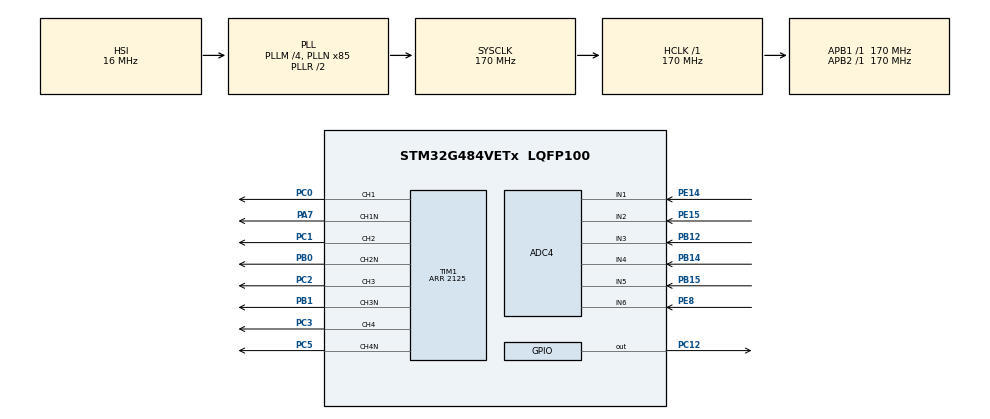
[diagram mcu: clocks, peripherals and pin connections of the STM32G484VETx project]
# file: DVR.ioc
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ADC4.Channel-0\#ChannelRegularConversion=ADC_CHANNEL_5
ADC4.Channel-1\#ChannelRegularConversion=ADC_CHANNEL_3
ADC4.Channel-2\#ChannelRegularConversion=ADC_CHANNEL_1
ADC4.DMAContinuousRequests=ENABLE
ADC4.ExternalTrigConv=ADC_EXTERNALTRIG_T6_TRGO
ADC4.NbrOfConversion=3
ADC4.NbrOfConversionFlag=1
ADC4.OffsetNumber-0\#ChannelRegularConversion=ADC_OFFSET_NONE
ADC4.OffsetNumber-1\#ChannelRegularConversion=ADC_OFFSET_NONE
ADC4.OffsetNumber-2\#ChannelRegularConversion=ADC_OFFSET_NONE
ADC4.Rank-0\#ChannelRegularConversion=1
ADC4.Rank-1\#ChannelRegularConversion=2
ADC4.Rank-2\#ChannelRegularConversion=3
ADC4.SamplingTime-0\#ChannelRegularConversion=ADC_SAMPLETIME_640CYCLES_5
ADC4.SamplingTime-1\#ChannelRegularConversion=ADC_SAMPLETIME_47CYCLES_5
ADC4.SamplingTime-2\#ChannelRegularConversion=ADC_SAMPLETIME_47CYCLES_5
ADC4.SingleDiff-0\#ChannelRegularConversion=ADC_DIFFERENTIAL_ENDED
ADC4.SingleDiff-1\#ChannelRegularConversion=ADC_DIFFERENTIAL_ENDED
ADC4.SingleDiff-2\#ChannelRegularConversion=ADC_DIFFERENTIAL_ENDED
Dma.ADC4.0.Direction=DMA_PERIPH_TO_MEMORY
Dma.ADC4.0.EventEnable=DISABLE
Dma.ADC4.0.Instance=DMA1_Channel1
Dma.ADC4.0.MemDataAlignment=DMA_MDATAALIGN_HALFWORD
Dma.ADC4.0.MemInc=DMA_MINC_ENABLE
Dma.ADC4.0.Mode=DMA_CIRCULAR
Dma.ADC4.0.PeriphDataAlignment=DMA_PDATAALIGN_HALFWORD
Dma.ADC4.0.PeriphInc=DMA_PINC_DISABLE
Dma.ADC4.0.Polarity=HAL_DMAMUX_REQ_GEN_RISING
Dma.ADC4.0.Priority=DMA_PRIORITY_LOW
Dma.ADC4.0.RequestNumber=1
Dma.ADC4.0.SignalID=NONE
Dma.ADC4.0.SyncEnable=DISABLE
Dma.ADC4.0.SyncPolarity=HAL_DMAMUX_SYNC_NO_EVENT
Dma.ADC4.0.SyncRequestNumber=1
Dma.ADC4.0.SyncSignalID=NONE
Dma.Request0=ADC4
Mcu.Family=STM32G4
Mcu.Name=STM32G484VETx
Mcu.Package=LQFP100
NVIC.DMA1_Channel1_IRQn=true\:0\:0\:false\:false\:true\:false\:true\:true
NVIC.PriorityGroup=NVIC_PRIORITYGROUP_4
NVIC.TIM6_DAC_IRQn=true\:0\:0\:false\:false\:true\:true\:true\:true
NVIC.TIM7_DAC_IRQn=true\:0\:0\:false\:false\:true\:true\:true\:true
PA13.Mode=Serial_Wire
PA13.Signal=SYS_JTMS-SWDIO
PA14.Mode=Serial_Wire
PA14.Signal=SYS_JTCK-SWCLK
PA7.Mode=PWM Generation1 CH1 CH1N
PA7.Signal=TIM1_CH1N
PB0.Mode=PWM Generation2 CH2 CH2N
PB0.Signal=TIM1_CH2N
PB1.Mode=PWM Generation3 CH3 CH3N
PB1.Signal=TIM1_CH3N
PB12.Mode=IN3-Differential
PB12.Signal=ADC4_IN3
PB14.Mode=IN3-Differential
PB14.Signal=ADC4_IN4
PB15.Mode=IN5-Differential
PB15.Signal=ADC4_IN5
PC0.Signal=S_TIM1_CH1
PC1.Signal=S_TIM1_CH2
PC12.Signal=GPIO_Output
PC2.Signal=S_TIM1_CH3
PC3.Signal=S_TIM1_CH4
PC5.Mode=PWM Generation4 CH4 CH4N
PC5.Signal=TIM1_CH4N
PE14.Mode=IN1-Differential
PE14.Signal=ADC4_IN1
PE15.Mode=IN1-Differential
PE15.Signal=ADC4_IN2
PE8.Mode=IN5-Differential
PE8.Signal=ADC4_IN6
PF0-OSC_IN.Mode=HSE-External-Oscillator
PF0-OSC_IN.Signal=RCC_OSC_IN
PF1-OSC_OUT.Mode=HSE-External-Oscillator
PF1-OSC_OUT.Signal=RCC_OSC_OUT
ProjectManager.HeapSize=0x200
ProjectManager.StackSize=0x400
ProjectManager.TargetToolchain=MDK-ARM V5.32
RCC.ADC12Freq_Value=170000000
RCC.ADC345Freq_Value=170000000
RCC.AHBFreq_Value=170000000
RCC.APB1Freq_Value=170000000
RCC.APB1TimFreq_Value=170000000
RCC.APB2Freq_Value=170000000
RCC.APB2TimFreq_Value=170000000
RCC.CortexFreq_Value=170000000
RCC.EXTERNAL_CLOCK_VALUE=12288000
RCC.HCLKFreq_Value=170000000
RCC.HSE_VALUE=16000000
RCC.HSI48_VALUE=48000000
RCC.HSI_VALUE=16000000
RCC.LSE_VALUE=32768
RCC.PLLM=RCC_PLLM_DIV4
RCC.PLLN=85
RCC.SYSCLKFreq_VALUE=170000000
RCC.SYSCLKSource=RCC_SYSCLKSOURCE_PLLCLK
RCC.USBFreq_Value=170000000
RCC.VCOOutputFreq_Value=340000000
SH.S_TIM1_CH1.0=TIM1_CH1,PWM Generation1 CH1 CH1N
SH.S_TIM1_CH2.0=TIM1_CH2,PWM Generation2 CH2 CH2N
SH.S_TIM1_CH3.0=TIM1_CH3,PWM Generation3 CH3 CH3N
SH.S_TIM1_CH4.0=TIM1_CH4,PWM Generation4 CH4 CH4N
TIM1.AutoReloadPreload=TIM_AUTORELOAD_PRELOAD_ENABLE
TIM1.Channel-PWM\ Generation1\ CH1\ CH1N=TIM_CHANNEL_1
TIM1.Channel-PWM\ Generation2\ CH2\ CH2N=TIM_CHANNEL_2
TIM1.Channel-PWM\ Generation3\ CH3\ CH3N=TIM_CHANNEL_3
TIM1.Channel-PWM\ Generation4\ CH4\ CH4N=TIM_CHANNEL_4
TIM1.CounterMode=TIM_COUNTERMODE_CENTERALIGNED1
TIM1.DeadTime=106
TIM1.PeriodNoDither=2125
TIM6.PeriodNoDither=49
TIM6.Prescaler=169
TIM6.TIM_MasterOutputTrigger=TIM_TRGO_UPDATE
TIM7.PeriodNoDither=499
TIM7.Prescaler=169
VP_SYS_VS_DBSignals.Mode=DisableDeadBatterySignals
VP_TIM1_VS_ClockSourceINT.Mode=Internal
VP_TIM6_VS_ClockSourceINT.Mode=Enable_Timer
VP_TIM7_VS_ClockSourceINT.Mode=Enable_Timer
board=custom

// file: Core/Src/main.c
/* USER CODE BEGIN Header */
/**
  ******************************************************************************
  * @file           : main.c
  * @brief          : Main program body
  ******************************************************************************
  * @attention
  *
  * Copyright (c) 2026 STMicroelectronics.
  * All rights reserved.
  *
  * This software is licensed under terms that can be found in the LICENSE file
  * in the root directory of this software component.
  * If no LICENSE file comes with this software, it is provided AS-IS.
  *
  ******************************************************************************
  */
/* USER CODE END Header */
#include "main.h"
#include "adc.h"
#include "dma.h"
#include "tim.h"
#include "gpio.h"

/* USER CODE BEGIN Includes */

#include <stdint.h>
#include <stdbool.h>
#include <math.h>
#include "sogi.h"
#include "pwm_3leg_sine.h"
#include "dynvolt_predictor.h"
/* USER CODE END Includes */

/* USER CODE BEGIN PTD */

typedef struct
{
    float u;
    float v;
    float w;
} Phase3f;

typedef enum
{
    REF_MODE_SOGI_FILTERED = 0,
    REF_MODE_PLL_CLEAN     = 1
} ReferenceMode_t;

typedef enum
{
    PWM_MODE_MEASURED_DIRECT     = 0,
    PWM_MODE_REFERENCE_DIRECT    = 1,
    PWM_MODE_INJECTION_DIRECT    = 2,
    PWM_MODE_INJECTION_PREDICTOR = 3
} PwmMode_t;
/* USER CODE END PTD */

/* USER CODE BEGIN PD */
#define Version                         "0.0.8"

/* Basic math constants */
#define PI_F                            3.1415926f
#define TWO_PI_F                        (2.0f * PI_F)
#define TWO_PI_OVER_3                   (2.0f * PI_F / 3.0f)
#define SQRT3_OVER_2                    0.8660254f

/* ADC and voltage sensor scaling */
#define ADC_BUF_LEN                     3u
#define ADC_VREF                        3.3f
#define ADC_MAX_VALUE                   4095.0f
#define AMC_GAIN                        0.4f
#define RESISTOR_RATIO                  100.6f

/* ADC buffer order: U, V, W. Do not swap phases anywhere else. */
#define DVR_ADC_HW_U_INDEX              0u
#define DVR_ADC_HW_V_INDEX              1u
#define DVR_ADC_HW_W_INDEX              2u

#define DVR_LOGICAL_U_ADC_INDEX         DVR_ADC_HW_U_INDEX
#define DVR_LOGICAL_V_ADC_INDEX         DVR_ADC_HW_V_INDEX
#define DVR_LOGICAL_W_ADC_INDEX         DVR_ADC_HW_W_INDEX

/* Fast control loop: 20 kHz = 50 us */
#define CONTROL_RATE_HZ                 20000.0f
#define CONTROL_TS_SEC                  (1.0f / CONTROL_RATE_HZ)
#define CONTROL_TS_US                   (1000000.0f / CONTROL_RATE_HZ)
#define CONTROL_OVERRUN_LIMIT_US        45.0f

/* Predictor loop: 2 kHz = 0.5 ms */
#define PREDICTOR_RATE_HZ               2000.0f
#define PREDICTOR_TS_SEC                (1.0f / PREDICTOR_RATE_HZ)
#define PREDICTOR_OVERRUN_LIMIT_US      350.0f

/* Artificial error delay used for tests */
#define ERROR_DELAY_MS_DEFAULT          5.0f
#define ERROR_DELAY_BUFFER_LEN          2000u
#define ERROR_DELAY_SAMPLES_MAX         (ERROR_DELAY_BUFFER_LEN - 1u)
#define ERROR_DELAY_MS_MAX              (((float)ERROR_DELAY_SAMPLES_MAX * CONTROL_TS_US) / 1000.0f)

/* Predictor horizon */
#define PREDICTOR_HORIZON_MS_DEFAULT    5.00f
#define PREDICTOR_HORIZON_MS_MIN        0.0f

/* Helper values for manual delay tuning from Watch */
#define TOTAL_DELAY_TARGET_MS_DEFAULT   1.00f
#define PREDICTOR_CALC_DELAY_MS_DEFAULT 0.21f
/* USER CODE END PD */

/* USER CODE BEGIN PV */
/* -------------------------------------------------------------------------
 * Main control objects
 * ------------------------------------------------------------------------- */
static PWM_3Leg_Handle g_pwm_3leg;
static PWM_3Leg_Config g_pwm_3leg_cfg;
static PWM_3Leg_Debug  g_pwm_3leg_dbg;

static DynVoltPredictor3P g_predictor;
static DynVoltPredictor3P_Config g_predictor_cfg;

/* ADC DMA buffer: adc_buf[0]=U, adc_buf[1]=V, adc_buf[2]=W */
volatile uint16_t adc_buf[ADC_BUF_LEN];

/* -------------------------------------------------------------------------
 * Watch variables: mapping and modes
 * ------------------------------------------------------------------------- */
volatile uint32_t g_adc_map_u_index = DVR_LOGICAL_U_ADC_INDEX;
volatile uint32_t g_adc_map_v_index = DVR_LOGICAL_V_ADC_INDEX;
volatile uint32_t g_adc_map_w_index = DVR_LOGICAL_W_ADC_INDEX;

/* g_reference_mode: 0=SOGI reference, 1=PLL clean sine reference
 * g_output_mode:    0=measured, 1=reference, 2=direct injection, 3=predictor
 */
volatile int g_reference_mode = REF_MODE_PLL_CLEAN;
volatile int g_output_mode = PWM_MODE_INJECTION_PREDICTOR;
volatile uint8_t g_pwm_output_enabled = 1u;

static int g_last_output_mode = -1;
volatile uint32_t g_invalid_output_mode_count = 0u;

/* Output scaling. These values are kept equal to the working direct-injection version. */
volatile float g_clean_reference_phase_peak_volts = 325.0f;
volatile float g_pwm_reference_gain = 1.0f;
volatile float Transformer_Ratio = 9.58f;
volatile float g_direct_output_sign = 1.0f;
volatile float g_injection_output_sign = -1.0f;

/* -------------------------------------------------------------------------
 * Artificial error delay
 * ------------------------------------------------------------------------- */
volatile float g_error_delay_ms_request = ERROR_DELAY_MS_DEFAULT;
volatile float g_error_delay_ms_active = ERROR_DELAY_MS_DEFAULT;
volatile uint32_t g_error_delay_samples_active = 0u;
volatile uint8_t g_error_delay_limited = 0u;
volatile uint32_t g_error_delay_reconfigure_count = 0u;
volatile uint8_t g_error_delay_ready = 0u;
volatile uint32_t g_error_delay_sample_count = 0u;

static float g_error_delay_ms_request_last = -1.0f;
static float g_err_delay_buf_u[ERROR_DELAY_BUFFER_LEN];
static float g_err_delay_buf_v[ERROR_DELAY_BUFFER_LEN];
static float g_err_delay_buf_w[ERROR_DELAY_BUFFER_LEN];
static uint32_t g_err_delay_index = 0u;
static uint8_t g_error_delay_primed = 0u;

/* Optional helper only. It does not change the active delay automatically. */
volatile float g_total_delay_target_ms = TOTAL_DELAY_TARGET_MS_DEFAULT;
volatile float g_predictor_calc_delay_assumed_ms = PREDICTOR_CALC_DELAY_MS_DEFAULT;
volatile float g_error_delay_suggested_ms = ERROR_DELAY_MS_DEFAULT;
volatile uint32_t g_error_delay_suggested_samples = 0u;

/* -------------------------------------------------------------------------
 * Predictor settings and monitor variables
 * ------------------------------------------------------------------------- */
volatile float g_predictor_horizon_ms_request = PREDICTOR_HORIZON_MS_DEFAULT;
volatile float g_predictor_horizon_ms_active = PREDICTOR_HORIZON_MS_DEFAULT;
volatile uint32_t g_predictor_reconfigure_count = 0u;
static float g_predictor_horizon_ms_request_last = -1.0f;

volatile float g_pred_input_err_u = 0.0f;
volatile float g_pred_input_err_v = 0.0f;
volatile float g_pred_input_err_w = 0.0f;

volatile float g_pred_input_err_filt_u = 0.0f;
volatile float g_pred_input_err_filt_v = 0.0f;
volatile float g_pred_input_err_filt_w = 0.0f;
volatile uint8_t g_predictor_error_filter_primed = 0u;

volatile float g_pred_err_u = 0.0f;
volatile float g_pred_err_v = 0.0f;
volatile float g_pred_err_w = 0.0f;

volatile float g_pred_inj_u = 0.0f;
volatile float g_pred_inj_v = 0.0f;
volatile float g_pred_inj_w = 0.0f;

volatile float g_predictor_flicker_score = 0.0f;
volatile float g_predictor_alpha = 0.0f;
volatile uint8_t g_predictor_active = 0u;
volatile uint8_t g_predictor_saturated = 0u;

volatile uint8_t g_predictor_run_request = 0u;
volatile uint8_t g_predictor_is_running = 0u;
volatile uint32_t g_predictor_tick_count = 0u;
volatile uint32_t g_predictor_missed_count = 0u;

/* -------------------------------------------------------------------------
 * Signal monitor variables
 * ------------------------------------------------------------------------- */
volatile uint16_t g_adc_raw_u = 0u;
volatile uint16_t g_adc_raw_v = 0u;
volatile uint16_t g_adc_raw_w = 0u;

volatile float g_meas_u = 0.0f;
volatile float g_meas_v = 0.0f;
volatile float g_meas_w = 0.0f;

volatile float g_sogi_u_alpha = 0.0f;
volatile float g_sogi_u_beta  = 0.0f;
volatile float g_sogi_v_alpha = 0.0f;
volatile float g_sogi_v_beta  = 0.0f;
volatile float g_sogi_w_alpha = 0.0f;
volatile float g_sogi_w_beta  = 0.0f;

volatile float g_pll_theta = 0.0f;
volatile float g_pll_freq_hz = 50.0f;
volatile float g_pll_error = 0.0f;

volatile float g_ref_u = 0.0f;
volatile float g_ref_v = 0.0f;
volatile float g_ref_w = 0.0f;

volatile float g_err_u = 0.0f;
volatile float g_err_v = 0.0f;
volatile float g_err_w = 0.0f;

volatile float g_err_delay_u = 0.0f;
volatile float g_err_delay_v = 0.0f;
volatile float g_err_delay_w = 0.0f;

volatile float g_inj_u = 0.0f;
volatile float g_inj_v = 0.0f;
volatile float g_inj_w = 0.0f;

volatile float g_pwm_u = 0.0f;
volatile float g_pwm_v = 0.0f;
volatile float g_pwm_w = 0.0f;

/* -------------------------------------------------------------------------
 * SOGI and PLL internal states
 * ------------------------------------------------------------------------- */
static SOGI_Config sogi_cfg;
static SOGI_State sogi_u_state;
static SOGI_State sogi_v_state;
static SOGI_State sogi_w_state;

static float pll_ts = CONTROL_TS_SEC;
static float pll_kp = 80.0f;
static float pll_ki = 2000.0f;
static float pll_integrator = 0.0f;
static float pll_omega = TWO_PI_F * 50.0f;
static float pll_omega_nominal = TWO_PI_F * 50.0f;

/* -------------------------------------------------------------------------
 * Timing monitor variables
 * ------------------------------------------------------------------------- */
volatile uint32_t g_control_cycles = 0u;
volatile uint32_t g_control_cycles_max = 0u;
volatile float g_control_time_us = 0.0f;
volatile uint8_t g_control_timing_overrun = 0u;

volatile uint32_t g_predictor_cycles = 0u;
volatile uint32_t g_predictor_cycles_max = 0u;
volatile float g_predictor_time_us = 0.0f;
volatile uint8_t g_predictor_timing_overrun = 0u;
/* USER CODE END PV */

void SystemClock_Config(void);
/* USER CODE BEGIN PFP */

static void dvr_background_step(void);
static void dvr_control_step_20khz(void);
static void dvr_application_init(void);
/* USER CODE END PFP */

/* USER CODE BEGIN 0 */
/* -------------------------------------------------------------------------
 * Small utility functions
 * ------------------------------------------------------------------------- */
static float clampf(float x, float min_val, float max_val)
{
    if (x < min_val)
    {
        return min_val;
    }

    if (x > max_val)
    {
        return max_val;
    }

    return x;
}

static uint32_t clamp_u32(uint32_t x, uint32_t min_val, uint32_t max_val)
{
    if (x < min_val)
    {
        return min_val;
    }

    if (x > max_val)
    {
        return max_val;
    }

    return x;
}

static float cycles_to_us(uint32_t cycles)
{
    float cycles_per_us = ((float)SystemCoreClock) / 1000000.0f;

    if (cycles_per_us <= 0.0f)
    {
        return 0.0f;
    }

    return ((float)cycles) / cycles_per_us;
}

static float wrap_0_2pi(float angle_rad)
{
    while (angle_rad >= TWO_PI_F)
    {
        angle_rad -= TWO_PI_F;
    }

    while (angle_rad < 0.0f)
    {
        angle_rad += TWO_PI_F;
    }

    return angle_rad;
}

static uint32_t delay_ms_to_samples(float delay_ms)
{
    float delay_us;
    uint32_t samples;

    if (delay_ms <= 0.0f)
    {
        return 0u;
    }

    delay_us = delay_ms * 1000.0f;
    samples = (uint32_t)((delay_us / CONTROL_TS_US) + 0.5f);

    return clamp_u32(samples, 0u, ERROR_DELAY_SAMPLES_MAX);
}

static float delay_samples_to_ms(uint32_t delay_samples)
{
    return (((float)delay_samples * CONTROL_TS_US) / 1000.0f);
}

/* -------------------------------------------------------------------------
 * ADC measurement
 * ------------------------------------------------------------------------- */
static float adc_diff_to_volts(uint32_t adc_raw)
{
    float adc_diff_volts;
    float sensor_input_volts;

    adc_diff_volts = (((float)adc_raw / ADC_MAX_VALUE) * 2.0f * ADC_VREF) - ADC_VREF;
    sensor_input_volts = adc_diff_volts / AMC_GAIN;

    return sensor_input_volts * RESISTOR_RATIO;
}

static void read_adc_voltages(void)
{
    g_adc_raw_u = adc_buf[DVR_LOGICAL_U_ADC_INDEX];
    g_adc_raw_v = adc_buf[DVR_LOGICAL_V_ADC_INDEX];
    g_adc_raw_w = adc_buf[DVR_LOGICAL_W_ADC_INDEX];

    g_meas_u = adc_diff_to_volts(g_adc_raw_u);
    g_meas_v = adc_diff_to_volts(g_adc_raw_v);
    g_meas_w = adc_diff_to_volts(g_adc_raw_w);
}

/* -------------------------------------------------------------------------
 * SOGI and PLL reference generation
 * ------------------------------------------------------------------------- */
static void update_sogi(void)
{
    SOGI_Output out_u;
    SOGI_Output out_v;
    SOGI_Output out_w;

    SOGI_Step(&sogi_u_state, g_meas_u, &out_u);
    SOGI_Step(&sogi_v_state, g_meas_v, &out_v);
    SOGI_Step(&sogi_w_state, g_meas_w, &out_w);

    g_sogi_u_alpha = out_u.v_alpha;
    g_sogi_u_beta  = out_u.v_beta;

    g_sogi_v_alpha = out_v.v_alpha;
    g_sogi_v_beta  = out_v.v_beta;

    g_sogi_w_alpha = out_w.v_alpha;
    g_sogi_w_beta  = out_w.v_beta;
}

static void update_pll(void)
{
    float alpha;
    float beta;
    float error_volts;
    float cos_th;
    float sin_th;

    /* Clarke transform from filtered U/V/W to alpha/beta. */
    alpha = (2.0f / 3.0f) * (g_sogi_u_alpha - 0.5f * g_sogi_v_alpha - 0.5f * g_sogi_w_alpha);
    beta  = (2.0f / 3.0f) * (SQRT3_OVER_2 * (g_sogi_v_alpha - g_sogi_w_alpha));

    cos_th = cosf(g_pll_theta);
    sin_th = sinf(g_pll_theta);

    /* PLL q-axis error. The goal is to drive this value to zero. */
    error_volts = (beta * cos_th) - (alpha * sin_th);
    g_pll_error = -(error_volts / g_clean_reference_phase_peak_volts);

    pll_integrator += pll_ki * pll_ts * g_pll_error;
    pll_integrator = clampf(pll_integrator, -(TWO_PI_F * 10.0f), (TWO_PI_F * 10.0f));

    pll_omega = pll_omega_nominal + (pll_kp * g_pll_error) + pll_integrator;
    pll_omega = clampf(pll_omega,
                       pll_omega_nominal - (TWO_PI_F * 20.0f),
                       pll_omega_nominal + (TWO_PI_F * 20.0f));

    g_pll_theta += pll_omega * pll_ts;
    g_pll_theta = wrap_0_2pi(g_pll_theta);
    g_pll_freq_hz = pll_omega / TWO_PI_F;
}

static void build_reference_from_sogi(void)
{
    g_ref_u = g_sogi_u_alpha;
    g_ref_v = g_sogi_v_alpha;
    g_ref_w = g_sogi_w_alpha;
}

static void build_reference_from_pll(void)
{
    float phase_u_angle = g_pll_theta - (PI_F * 0.5f);

    g_ref_u = g_clean_reference_phase_peak_volts * sinf(phase_u_angle);
    g_ref_v = g_clean_reference_phase_peak_volts * sinf(phase_u_angle - TWO_PI_OVER_3);
    g_ref_w = g_clean_reference_phase_peak_volts * sinf(phase_u_angle + TWO_PI_OVER_3);
}

static void update_selected_reference(void)
{
    update_sogi();
    update_pll();

    if (g_reference_mode == REF_MODE_PLL_CLEAN)
    {
        build_reference_from_pll();
    }
    else
    {
        build_reference_from_sogi();
    }
}

/* -------------------------------------------------------------------------
 * Error, artificial delay, and direct injection
 * ------------------------------------------------------------------------- */
static void build_error(void)
{
    g_err_u = g_ref_u - g_meas_u;
    g_err_v = g_ref_v - g_meas_v;
    g_err_w = g_ref_w - g_meas_w;
}

static void reset_error_delay_buffer(void)
{
    uint32_t i;

    for (i = 0u; i < ERROR_DELAY_BUFFER_LEN; i++)
    {
        g_err_delay_buf_u[i] = g_err_u;
        g_err_delay_buf_v[i] = g_err_v;
        g_err_delay_buf_w[i] = g_err_w;
    }

    g_err_delay_u = g_err_u;
    g_err_delay_v = g_err_v;
    g_err_delay_w = g_err_w;

    g_err_delay_index = 0u;
    g_error_delay_sample_count = 0u;
    g_error_delay_ready = 0u;
    g_error_delay_primed = 1u;
}

static void update_error_delay(void)
{
    uint32_t delay_samples = g_error_delay_samples_active;

    if (g_error_delay_primed == 0u)
    {
        reset_error_delay_buffer();
        return;
    }

    if (delay_samples == 0u)
    {
        g_err_delay_u = g_err_u;
        g_err_delay_v = g_err_v;
        g_err_delay_w = g_err_w;
        g_err_delay_index = 0u;
        g_error_delay_ready = 1u;
        g_error_delay_sample_count++;
        return;
    }

    /* Read the old value first. This creates the delay. */
    g_err_delay_u = g_err_delay_buf_u[g_err_delay_index];
    g_err_delay_v = g_err_delay_buf_v[g_err_delay_index];
    g_err_delay_w = g_err_delay_buf_w[g_err_delay_index];

    /* Store the new value for a future control step. */
    g_err_delay_buf_u[g_err_delay_index] = g_err_u;
    g_err_delay_buf_v[g_err_delay_index] = g_err_v;
    g_err_delay_buf_w[g_err_delay_index] = g_err_w;

    g_err_delay_index++;

    if (g_err_delay_index >= delay_samples)
    {
        g_err_delay_index = 0u;
        g_error_delay_ready = 1u;
    }

    g_error_delay_sample_count++;
}

static void build_direct_injection(void)
{
    g_inj_u = -g_err_delay_u;
    g_inj_v = -g_err_delay_v;
    g_inj_w = -g_err_delay_w;
}

/* -------------------------------------------------------------------------
 * Predictor injection
 * ------------------------------------------------------------------------- */
static void filter_predictor_input_error(void)
{
    const float alpha = 0.6341f;

    if (g_predictor_error_filter_primed == 0u)
    {
        g_pred_input_err_filt_u = g_pred_input_err_u;
        g_pred_input_err_filt_v = g_pred_input_err_v;
        g_pred_input_err_filt_w = g_pred_input_err_w;
        g_predictor_error_filter_primed = 1u;
        return;
    }

    g_pred_input_err_filt_u += alpha * (g_pred_input_err_u - g_pred_input_err_filt_u);
    g_pred_input_err_filt_v += alpha * (g_pred_input_err_v - g_pred_input_err_filt_v);
    g_pred_input_err_filt_w += alpha * (g_pred_input_err_w - g_pred_input_err_filt_w);
}

static void build_predictor_injection(void)
{
    const DynVoltPredictor3P_Debug *pred_dbg;
    float pred_err_u;
    float pred_err_v;
    float pred_err_w;

    __disable_irq();
    g_pred_input_err_u = g_err_delay_u;
    g_pred_input_err_v = g_err_delay_v;
    g_pred_input_err_w = g_err_delay_w;
    __enable_irq();

    filter_predictor_input_error();

    DynVoltPredictor3P_Step(&g_predictor,
                            g_pred_input_err_filt_u,
                            g_pred_input_err_filt_v,
                            g_pred_input_err_filt_w,
                            &pred_err_u,
                            &pred_err_v,
                            &pred_err_w);

    g_pred_err_u = pred_err_u;
    g_pred_err_v = pred_err_v;
    g_pred_err_w = pred_err_w;

    g_pred_inj_u = -g_pred_err_u;
    g_pred_inj_v = -g_pred_err_v;
    g_pred_inj_w = -g_pred_err_w;

    pred_dbg = DynVoltPredictor3P_GetDebug(&g_predictor);

    if (pred_dbg != 0)
    {
        g_predictor_flicker_score = pred_dbg->flicker_score;
        g_predictor_alpha = pred_dbg->alpha_pred;
        g_predictor_active = pred_dbg->active;
        g_predictor_saturated = pred_dbg->saturated;
    }
}

/* -------------------------------------------------------------------------
 * PWM command selection and output
 * ------------------------------------------------------------------------- */
static void select_pwm_command(Phase3f *cmd, float *sign)
{
    if (g_output_mode == PWM_MODE_MEASURED_DIRECT)
    {
        cmd->u = g_meas_u;
        cmd->v = g_meas_v;
        cmd->w = g_meas_w;
        *sign = g_direct_output_sign;
        return;
    }

    if (g_output_mode == PWM_MODE_REFERENCE_DIRECT)
    {
        cmd->u = g_ref_u;
        cmd->v = g_ref_v;
        cmd->w = g_ref_w;
        *sign = g_direct_output_sign;
        return;
    }

    if (g_output_mode == PWM_MODE_INJECTION_PREDICTOR)
    {
        cmd->u = g_pred_inj_u;
        cmd->v = g_pred_inj_v;
        cmd->w = g_pred_inj_w;
        *sign = g_injection_output_sign;
        return;
    }

    cmd->u = g_inj_u;
    cmd->v = g_inj_v;
    cmd->w = g_inj_w;
    *sign = g_injection_output_sign;
}

static void apply_pwm_output(void)
{
    Phase3f cmd;
    float sign;

    select_pwm_command(&cmd, &sign);

    if (g_pwm_output_enabled == 0u)
    {
        g_pwm_u = 0.0f;
        g_pwm_v = 0.0f;
        g_pwm_w = 0.0f;
    }
    else
    {
        g_pwm_u = g_pwm_reference_gain * sign * cmd.u * Transformer_Ratio;
        g_pwm_v = g_pwm_reference_gain * sign * cmd.v * Transformer_Ratio;
        g_pwm_w = g_pwm_reference_gain * sign * cmd.w * Transformer_Ratio;
    }

    PWM_3Leg_ApplyPhaseReferences(&g_pwm_3leg,
                                  g_pwm_u,
                                  g_pwm_v,
                                  g_pwm_w,
                                  &g_pwm_3leg_dbg);
}

static void handle_mode_change(void)
{
    if ((g_output_mode < PWM_MODE_MEASURED_DIRECT) ||
        (g_output_mode > PWM_MODE_INJECTION_PREDICTOR))
    {
        g_output_mode = PWM_MODE_INJECTION_DIRECT;
        g_invalid_output_mode_count++;
    }

    if (g_output_mode != g_last_output_mode)
    {
        if (g_output_mode == PWM_MODE_INJECTION_PREDICTOR)
        {
            g_predictor_error_filter_primed = 0u;
        }

        g_last_output_mode = g_output_mode;
    }
}

/* -------------------------------------------------------------------------
 * Runtime settings from Watch
 * ------------------------------------------------------------------------- */
static void dwt_init(void)
{
    CoreDebug->DEMCR |= CoreDebug_DEMCR_TRCENA_Msk;
    DWT->CYCCNT = 0u;
    DWT->CTRL |= DWT_CTRL_CYCCNTENA_Msk;
}

static void predictor_init_from_runtime_settings(void)
{
    float horizon_ms = g_predictor_horizon_ms_request;

    if (horizon_ms < PREDICTOR_HORIZON_MS_MIN)
    {
        horizon_ms = PREDICTOR_HORIZON_MS_MIN;
        g_predictor_horizon_ms_request = horizon_ms;
    }

    g_predictor_horizon_ms_active = horizon_ms;
    g_predictor_horizon_ms_request_last = horizon_ms;

    DynVoltPredictor3P_GetDefaultConfig(&g_predictor_cfg);
    g_predictor_cfg.ts_sec = PREDICTOR_TS_SEC;
    g_predictor_cfg.td_sec = horizon_ms * 1.0e-3f;
    g_predictor_cfg.vmax_volts = 80.0f;
    g_predictor_cfg.enable_predictor = 1u;
    g_predictor_cfg.enable_adaptation = 1u;
    DynVoltPredictor3P_Init(&g_predictor, &g_predictor_cfg);

    g_predictor_error_filter_primed = 0u;
    g_predictor_reconfigure_count++;
}

static void update_delay_suggestion(void)
{
    float suggested_ms;
    uint32_t suggested_samples;

    suggested_ms = g_total_delay_target_ms - g_predictor_calc_delay_assumed_ms;

    if (suggested_ms < 0.0f)
    {
        suggested_ms = 0.0f;
    }

    suggested_samples = delay_ms_to_samples(suggested_ms);
    g_error_delay_suggested_samples = suggested_samples;
    g_error_delay_suggested_ms = delay_samples_to_ms(suggested_samples);
}

static void service_error_delay_request(void)
{
    float request_ms = g_error_delay_ms_request;
    uint32_t samples;

    if (fabsf(request_ms - g_error_delay_ms_request_last) <= 0.0001f)
    {
        return;
    }

    g_error_delay_limited = 0u;

    if (request_ms < 0.0f)
    {
        request_ms = 0.0f;
        g_error_delay_limited = 1u;
    }

    samples = delay_ms_to_samples(request_ms);

    if (request_ms > ERROR_DELAY_MS_MAX)
    {
        g_error_delay_limited = 1u;
    }

    __disable_irq();
    g_error_delay_samples_active = samples;
    g_error_delay_ms_active = delay_samples_to_ms(samples);
    g_error_delay_ms_request = g_error_delay_ms_active;
    g_error_delay_ms_request_last = g_error_delay_ms_active;
    reset_error_delay_buffer();
    g_error_delay_reconfigure_count++;
    __enable_irq();
}

static void service_predictor_horizon_request(void)
{
    float request_ms = g_predictor_horizon_ms_request;

    if (fabsf(request_ms - g_predictor_horizon_ms_request_last) <= 0.0001f)
    {
        return;
    }

    predictor_init_from_runtime_settings();
}

/* -------------------------------------------------------------------------
 * Main runtime steps
 * ------------------------------------------------------------------------- */
static void dvr_predictor_step(void)
{
    uint32_t start_cycles;
    uint32_t elapsed_cycles;

    g_predictor_is_running = 1u;

    start_cycles = DWT->CYCCNT;
    build_predictor_injection();
    elapsed_cycles = DWT->CYCCNT - start_cycles;

    g_predictor_cycles = elapsed_cycles;

    if (elapsed_cycles > g_predictor_cycles_max)
    {
        g_predictor_cycles_max = elapsed_cycles;
    }

    g_predictor_time_us = cycles_to_us(elapsed_cycles);

    if (g_predictor_time_us > PREDICTOR_OVERRUN_LIMIT_US)
    {
        g_predictor_timing_overrun = 1u;
    }

    g_predictor_is_running = 0u;
}

static void dvr_background_step(void)
{
    uint8_t run_predictor = 0u;

    update_delay_suggestion();
    service_error_delay_request();
    service_predictor_horizon_request();

    if (g_predictor_run_request != 0u)
    {
        __disable_irq();
        g_predictor_run_request = 0u;
        __enable_irq();

        if (g_output_mode == PWM_MODE_INJECTION_PREDICTOR)
        {
            run_predictor = 1u;
        }
    }

    if (run_predictor != 0u)
    {
        dvr_predictor_step();
    }
}

static void dvr_control_step_20khz(void)
{
    uint32_t start_cycles;
    uint32_t elapsed_cycles;

    start_cycles = DWT->CYCCNT;

    read_adc_voltages();
    handle_mode_change();
    update_selected_reference();
    build_error();
    update_error_delay();
    build_direct_injection();
    apply_pwm_output();

    elapsed_cycles = DWT->CYCCNT - start_cycles;
    g_control_cycles = elapsed_cycles;

    if (elapsed_cycles > g_control_cycles_max)
    {
        g_control_cycles_max = elapsed_cycles;
    }

    g_control_time_us = cycles_to_us(elapsed_cycles);

    if (g_control_time_us > CONTROL_OVERRUN_LIMIT_US)
    {
        g_control_timing_overrun = 1u;
    }
}

/* -------------------------------------------------------------------------
 * Application initialization
 * ------------------------------------------------------------------------- */
static void init_adc_calibration(void)
{
    HAL_ADC_Stop(&hadc4);

    if (HAL_ADCEx_Calibration_Start(&hadc4, ADC_DIFFERENTIAL_ENDED) != HAL_OK)
    {
        Error_Handler();
    }
}

static void start_adc_dma(void)
{
    if (HAL_ADC_Start_DMA(&hadc4, (uint32_t*)adc_buf, ADC_BUF_LEN) != HAL_OK)
    {
        Error_Handler();
    }
}

static void init_sogi_pll(void)
{
    sogi_cfg.Ts = CONTROL_TS_SEC;
    sogi_cfg.k  = 0.8f;
    sogi_cfg.w  = TWO_PI_F * 50.0f;

    SOGI_Init(&sogi_u_state, &sogi_cfg);
    SOGI_Init(&sogi_v_state, &sogi_cfg);
    SOGI_Init(&sogi_w_state, &sogi_cfg);

    g_pll_theta = 0.0f;
    pll_integrator = 0.0f;
    pll_omega_nominal = TWO_PI_F * 50.0f;
    pll_omega = pll_omega_nominal;
    pll_ts = CONTROL_TS_SEC;
}

static void init_user_settings(void)
{
    g_reference_mode = REF_MODE_PLL_CLEAN;
    g_output_mode = PWM_MODE_INJECTION_PREDICTOR;
    g_last_output_mode = -1;
    g_pwm_output_enabled = 1u;

    g_pwm_reference_gain = 1.0f;
    Transformer_Ratio = 9.58f;
    g_direct_output_sign = 1.0f;
    g_injection_output_sign = -1.0f;

    g_error_delay_ms_request = ERROR_DELAY_MS_DEFAULT;
    g_error_delay_ms_request_last = -1.0f;
    service_error_delay_request();

    g_predictor_error_filter_primed = 0u;
    g_predictor_horizon_ms_request = PREDICTOR_HORIZON_MS_DEFAULT;
    g_predictor_horizon_ms_request_last = -1.0f;
    predictor_init_from_runtime_settings();
}

static void init_pwm_output(void)
{
    g_pwm_3leg_cfg.vdc_volts = 400.0f;
    g_pwm_3leg_cfg.output_freq_hz = 50.0f;
    g_pwm_3leg_cfg.pwm_update_hz = CONTROL_RATE_HZ;
    g_pwm_3leg_cfg.modulation_index = 1.0f;
    g_pwm_3leg_cfg.duty_min = 0.02f;
    g_pwm_3leg_cfg.duty_max = 0.98f;
    g_pwm_3leg_cfg.enable_zero_sequence = true;

    PWM_3Leg_Init(&g_pwm_3leg, &htim1, &g_pwm_3leg_cfg);
    PWM_3Leg_ApplyPhaseReferences(&g_pwm_3leg, 0.0f, 0.0f, 0.0f, &g_pwm_3leg_dbg);

    HAL_TIM_PWM_Start(&htim1, TIM_CHANNEL_1);
    HAL_TIM_PWM_Start(&htim1, TIM_CHANNEL_2);
    HAL_TIM_PWM_Start(&htim1, TIM_CHANNEL_3);

    HAL_TIMEx_PWMN_Start(&htim1, TIM_CHANNEL_1);
    HAL_TIMEx_PWMN_Start(&htim1, TIM_CHANNEL_2);
    HAL_TIMEx_PWMN_Start(&htim1, TIM_CHANNEL_3);
}

static void init_timers(void)
{
    HAL_TIM_Base_Start(&htim6);

    if (HAL_TIM_Base_Start_IT(&htim7) != HAL_OK)
    {
        Error_Handler();
    }
}

static void dvr_application_init(void)
{
    init_adc_calibration();
    init_sogi_pll();
    init_user_settings();
    start_adc_dma();
    init_pwm_output();
    init_timers();
}
/* USER CODE END 0 */

int main(void)
{

  /* MCU Configuration--------------------------------------------------------*/

  /* Reset of all peripherals, Initializes the Flash interface and the Systick. */
  HAL_Init();

  /* Configure the system clock */
  SystemClock_Config();

  /* USER CODE BEGIN SysInit */
  dwt_init();
  /* USER CODE END SysInit */

  /* Initialize all configured peripherals */
  MX_GPIO_Init();
  MX_DMA_Init();
  MX_ADC4_Init();
  MX_TIM6_Init();
  MX_TIM1_Init();
  MX_TIM7_Init();
  /* USER CODE BEGIN 2 */
    dvr_application_init();
  /* USER CODE END 2 */

  /* Infinite loop */
  /* USER CODE BEGIN WHILE */
  while (1)
  {
    dvr_background_step();
    /* USER CODE END WHILE */

  }
}

void SystemClock_Config(void)
{
  RCC_OscInitTypeDef RCC_OscInitStruct = {0};
  RCC_ClkInitTypeDef RCC_ClkInitStruct = {0};

  /** Configure the main internal regulator output voltage
  */
  HAL_PWREx_ControlVoltageScaling(PWR_REGULATOR_VOLTAGE_SCALE1_BOOST);

  /** Initializes the RCC Oscillators according to the specified parameters
  * in the RCC_OscInitTypeDef structure.
  */
  RCC_OscInitStruct.OscillatorType = RCC_OSCILLATORTYPE_HSI;
  RCC_OscInitStruct.HSIState = RCC_HSI_ON;
  RCC_OscInitStruct.HSICalibrationValue = RCC_HSICALIBRATION_DEFAULT;
  RCC_OscInitStruct.PLL.PLLState = RCC_PLL_ON;
  RCC_OscInitStruct.PLL.PLLSource = RCC_PLLSOURCE_HSI;
  RCC_OscInitStruct.PLL.PLLM = RCC_PLLM_DIV4;
  RCC_OscInitStruct.PLL.PLLN = 85;
  RCC_OscInitStruct.PLL.PLLP = RCC_PLLP_DIV2;
  RCC_OscInitStruct.PLL.PLLQ = RCC_PLLQ_DIV2;
  RCC_OscInitStruct.PLL.PLLR = RCC_PLLR_DIV2;
  if (HAL_RCC_OscConfig(&RCC_OscInitStruct) != HAL_OK)
  {
    Error_Handler();
  }

  /** Initializes the CPU, AHB and APB buses clocks
  */
  RCC_ClkInitStruct.ClockType = RCC_CLOCKTYPE_HCLK|RCC_CLOCKTYPE_SYSCLK
                              |RCC_CLOCKTYPE_PCLK1|RCC_CLOCKTYPE_PCLK2;
  RCC_ClkInitStruct.SYSCLKSource = RCC_SYSCLKSOURCE_PLLCLK;
  RCC_ClkInitStruct.AHBCLKDivider = RCC_SYSCLK_DIV1;
  RCC_ClkInitStruct.APB1CLKDivider = RCC_HCLK_DIV1;
  RCC_ClkInitStruct.APB2CLKDivider = RCC_HCLK_DIV1;

  if (HAL_RCC_ClockConfig(&RCC_ClkInitStruct, FLASH_LATENCY_4) != HAL_OK)
  {
    Error_Handler();
  }
}

/* USER CODE BEGIN 4 */

void HAL_ADC_ConvCpltCallback(ADC_HandleTypeDef* hadc)
{
    if (hadc->Instance == ADC4)
    {
        dvr_control_step_20khz();
    }
}

void HAL_TIM_PeriodElapsedCallback(TIM_HandleTypeDef *htim)
{
    if (htim->Instance == TIM7)
    {
        g_predictor_tick_count++;

        if (g_predictor_run_request == 0u)
        {
            g_predictor_run_request = 1u;
        }
        else
        {
            g_predictor_missed_count++;
        }
    }
}
/* USER CODE END 4 */

void Error_Handler(void)
{
  __disable_irq();
  while (1)
  {
  }
}
